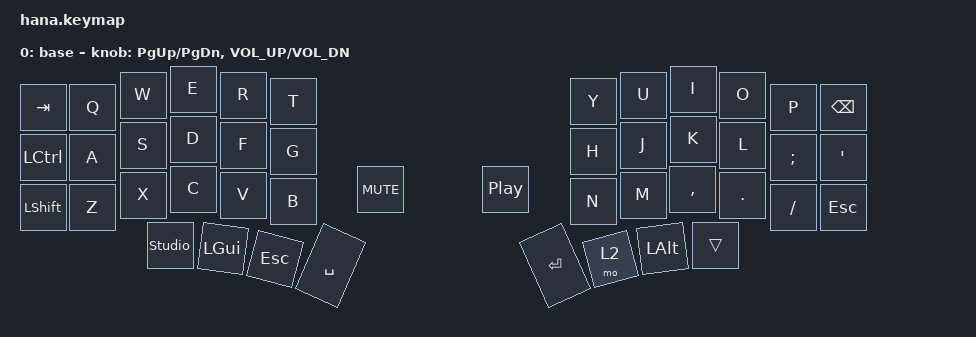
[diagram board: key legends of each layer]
#include <behaviors.dtsi>
#include <dt-bindings/zmk/keys.h>
#include <dt-bindings/zmk/bt.h>

/ {
    keymap {
        compatible = "zmk,keymap";

        default_layer {
            display-name = "base";
            sensor-bindings = <&inc_dec_kp PG_UP PG_DN &inc_dec_kp C_VOL_UP C_VOL_DN>;
            bindings = <
                &kp TAB   &kp Q &kp W  &kp E    &kp R   &kp T                      &kp Y   &kp U &kp I     &kp O   &kp P    &kp BSPC
                &kp LCTRL &kp A &kp S  &kp D    &kp F   &kp G                      &kp H   &kp J &kp K     &kp L   &kp SEMI &kp SQT
                &kp LSHFT &kp Z &kp X  &kp C    &kp V   &kp B &kp C_MUTE  &kp C_PP &kp N   &kp M &kp COMMA &kp DOT &kp FSLH &kp ESC
                                &studio_unlock &kp LGUI &kp ESC &kp SPACE                  &kp RET &mo 2 &kp LALT  &trans
            >;
        };

        nav_layer {
            display-name = "nav";
            status = "reserved";
        };

        fn_layer {
            display-name = "fn";
            status = "reserved";
        };

        num_layer {
            display-name = "num";
            status = "reserved";
        };
        
        sys_layer {
            display-name = "sys";
            status = "reserved";
        };
    };
};
